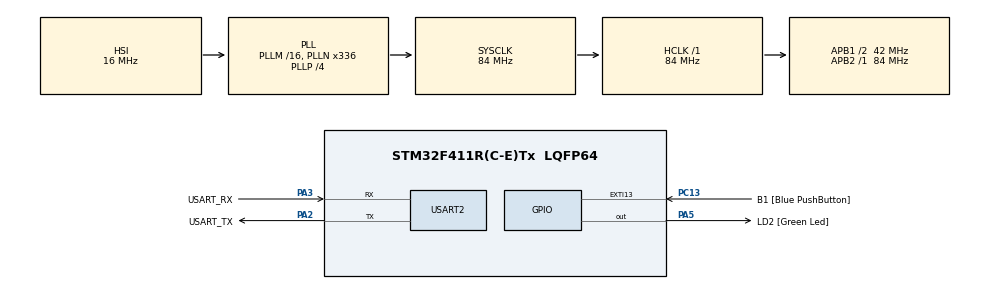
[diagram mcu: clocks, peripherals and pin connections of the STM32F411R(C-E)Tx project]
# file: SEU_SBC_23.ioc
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Mcu.Family=STM32F4
Mcu.Name=STM32F411R(C-E)Tx
Mcu.Package=LQFP64
NVIC.PriorityGroup=NVIC_PRIORITYGROUP_0
PA13.GPIO_Label=TMS
PA13.Mode=Serial_Wire
PA13.Signal=SYS_JTMS-SWDIO
PA14.GPIO_Label=TCK
PA14.Mode=Serial_Wire
PA14.Signal=SYS_JTCK-SWCLK
PA2.GPIO_Label=USART_TX
PA2.Mode=Asynchronous
PA2.Signal=USART2_TX
PA3.GPIO_Label=USART_RX
PA3.Mode=Asynchronous
PA3.Signal=USART2_RX
PA5.GPIO_Label=LD2 [Green Led]
PA5.Signal=GPIO_Output
PB3.GPIO_Label=SWO
PB3.Signal=SYS_JTDO-SWO
PC13-ANTI_TAMP.GPIO_Label=B1 [Blue PushButton]
PC13-ANTI_TAMP.GPIO_ModeDefaultEXTI=GPIO_MODE_IT_FALLING
PC13-ANTI_TAMP.Signal=GPXTI13
PC14-OSC32_IN.Mode=LSE-External-Oscillator
PC14-OSC32_IN.Signal=RCC_OSC32_IN
PC15-OSC32_OUT.Mode=LSE-External-Oscillator
PC15-OSC32_OUT.Signal=RCC_OSC32_OUT
PH0\ -\ OSC_IN.Mode=HSE-External-Clock-Source
PH0\ -\ OSC_IN.Signal=RCC_OSC_IN
PH1\ -\ OSC_OUT.Mode=HSE-External-Clock-Source
PH1\ -\ OSC_OUT.Signal=RCC_OSC_OUT
ProjectManager.HeapSize=0x200
ProjectManager.StackSize=0x400
ProjectManager.TargetToolchain=STM32CubeIDE
RCC.48MHZClocksFreq_Value=84000000
RCC.AHBFreq_Value=84000000
RCC.APB1CLKDivider=RCC_HCLK_DIV2
RCC.APB1Freq_Value=42000000
RCC.APB1TimFreq_Value=84000000
RCC.APB2Freq_Value=84000000
RCC.APB2TimFreq_Value=84000000
RCC.CortexFreq_Value=84000000
RCC.FLatency-AdvancedSettings=FLASH_LATENCY_2
RCC.HCLKFreq_Value=84000000
RCC.HSE_VALUE=8000000
RCC.HSI_VALUE=16000000
RCC.PLLN=336
RCC.PLLP=RCC_PLLP_DIV4
RCC.SYSCLKFreq_VALUE=84000000
RCC.SYSCLKSource=RCC_SYSCLKSOURCE_PLLCLK
RCC.VCOOutputFreq_Value=336000000
USART2.VirtualMode=VM_ASYNC
board=NUCLEO-F411RE

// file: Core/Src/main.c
/* USER CODE BEGIN Header */
/**
  ******************************************************************************
  * @file           : main.c
  * @brief          : Main program body
  ******************************************************************************
  * @attention
  *
  * Copyright (c) 2023 STMicroelectronics.
  * All rights reserved.
  *
  * This software is licensed under terms that can be found in the LICENSE file
  * in the root directory of this software component.
  * If no LICENSE file comes with this software, it is provided AS-IS.
  *
  ******************************************************************************
  */
/* USER CODE END Header */
#include "main.h"

/* USER CODE BEGIN Includes */

#include "stdio.h"

/* USER CODE END Includes */

UART_HandleTypeDef huart2;

void SystemClock_Config(void);
static void MX_GPIO_Init(void);
static void MX_USART2_UART_Init(void);

/* USER CODE BEGIN 0 */

int _write(int file, char *ptr, int len){
    int DataIdx;
    for (DataIdx = 0; DataIdx < len; DataIdx++){
   	//ITM_SendChar( *ptr++ );
   	HAL_UART_Transmit(&huart2, (uint8_t*)ptr++,1,1000);
    }
    return len;
}

void ejer1(void){
 int v[3]={0,0,0}, *p=1;

  printf ("\n\n\nEjer1\n\n");

  printf("1   	 v= %p ; Valores v: %d %d %d\r\n",v, v[0], v[1], v[2]);
  printf("2   	 p= %p ; Valores p: %x %x %x\r\n",p, p[0], p[1], p[2]);
  v[0]=9; v[1]=8; v[2]=7; v[3]=6;
  printf("3   	 v= %p ; Valores v: %d %d %d\r\n",v, v[0], v[1], v[2]);
  p=v;
  printf("4   	 p= %p ; Valores p: %d %d %d\r\n",p, p[0], p[1], p[2]);
}

void ejer2(void) {
	 int v[3]={0,0,0}, *p=1;

	  printf ("\n\n\nEjer2\n\n");

	  printf("1   	 v= %p ; Valores v: %d %d %d\r\n",v, v[0], v[1], v[2]);
	  printf("2   	 p= %p ; Valores p: %x %x %x\r\n",p, p[0], p[1], p[2]);
	  v[0]=9; v[1]=8; v[2]=7; v[3]=6;
	  printf("3   	 v= %p ; Valores v: %d %d %d\r\n",v, *(v+0), *(v+1), *(v+2));
	  p=v;
	  printf("4   	 p= %p ; Valores p: %d %d %d\r\n",p, *(p+0), *(p+1), *(p+2));
}

/* USER CODE END 0 */

int main(void)
{

  /* MCU Configuration--------------------------------------------------------*/

  /* Reset of all peripherals, Initializes the Flash interface and the Systick. */
  HAL_Init();

  /* Configure the system clock */
  SystemClock_Config();

  /* Initialize all configured peripherals */
  MX_GPIO_Init();
  MX_USART2_UART_Init();
  /* USER CODE BEGIN 2 */

  ejer1();
  ejer2();

  /* USER CODE END 2 */

  /* Infinite loop */
  while (1)
  {

  }
}

void SystemClock_Config(void)
{
  RCC_OscInitTypeDef RCC_OscInitStruct = {0};
  RCC_ClkInitTypeDef RCC_ClkInitStruct = {0};

  /** Configure the main internal regulator output voltage
  */
  __HAL_RCC_PWR_CLK_ENABLE();
  __HAL_PWR_VOLTAGESCALING_CONFIG(PWR_REGULATOR_VOLTAGE_SCALE1);
  /** Initializes the RCC Oscillators according to the specified parameters
  * in the RCC_OscInitTypeDef structure.
  */
  RCC_OscInitStruct.OscillatorType = RCC_OSCILLATORTYPE_HSI;
  RCC_OscInitStruct.HSIState = RCC_HSI_ON;
  RCC_OscInitStruct.HSICalibrationValue = RCC_HSICALIBRATION_DEFAULT;
  RCC_OscInitStruct.PLL.PLLState = RCC_PLL_ON;
  RCC_OscInitStruct.PLL.PLLSource = RCC_PLLSOURCE_HSI;
  RCC_OscInitStruct.PLL.PLLM = 16;
  RCC_OscInitStruct.PLL.PLLN = 336;
  RCC_OscInitStruct.PLL.PLLP = RCC_PLLP_DIV4;
  RCC_OscInitStruct.PLL.PLLQ = 4;
  if (HAL_RCC_OscConfig(&RCC_OscInitStruct) != HAL_OK)
  {
    Error_Handler();
  }
  /** Initializes the CPU, AHB and APB buses clocks
  */
  RCC_ClkInitStruct.ClockType = RCC_CLOCKTYPE_HCLK|RCC_CLOCKTYPE_SYSCLK
                              |RCC_CLOCKTYPE_PCLK1|RCC_CLOCKTYPE_PCLK2;
  RCC_ClkInitStruct.SYSCLKSource = RCC_SYSCLKSOURCE_PLLCLK;
  RCC_ClkInitStruct.AHBCLKDivider = RCC_SYSCLK_DIV1;
  RCC_ClkInitStruct.APB1CLKDivider = RCC_HCLK_DIV2;
  RCC_ClkInitStruct.APB2CLKDivider = RCC_HCLK_DIV1;

  if (HAL_RCC_ClockConfig(&RCC_ClkInitStruct, FLASH_LATENCY_2) != HAL_OK)
  {
    Error_Handler();
  }
}

static void MX_USART2_UART_Init(void)
{

  huart2.Instance = USART2;
  huart2.Init.BaudRate = 115200;
  huart2.Init.WordLength = UART_WORDLENGTH_8B;
  huart2.Init.StopBits = UART_STOPBITS_1;
  huart2.Init.Parity = UART_PARITY_NONE;
  huart2.Init.Mode = UART_MODE_TX_RX;
  huart2.Init.HwFlowCtl = UART_HWCONTROL_NONE;
  huart2.Init.OverSampling = UART_OVERSAMPLING_16;
  if (HAL_UART_Init(&huart2) != HAL_OK)
  {
    Error_Handler();
  }

}

static void MX_GPIO_Init(void)
{
  GPIO_InitTypeDef GPIO_InitStruct = {0};

  /* GPIO Ports Clock Enable */
  __HAL_RCC_GPIOC_CLK_ENABLE();
  __HAL_RCC_GPIOH_CLK_ENABLE();
  __HAL_RCC_GPIOA_CLK_ENABLE();
  __HAL_RCC_GPIOB_CLK_ENABLE();

  /*Configure GPIO pin Output Level */
  HAL_GPIO_WritePin(LD2_GPIO_Port, LD2_Pin, GPIO_PIN_RESET);

  /*Configure GPIO pin : B1_Pin */
  GPIO_InitStruct.Pin = B1_Pin;
  GPIO_InitStruct.Mode = GPIO_MODE_IT_FALLING;
  GPIO_InitStruct.Pull = GPIO_NOPULL;
  HAL_GPIO_Init(B1_GPIO_Port, &GPIO_InitStruct);

  /*Configure GPIO pin : LD2_Pin */
  GPIO_InitStruct.Pin = LD2_Pin;
  GPIO_InitStruct.Mode = GPIO_MODE_OUTPUT_PP;
  GPIO_InitStruct.Pull = GPIO_NOPULL;
  GPIO_InitStruct.Speed = GPIO_SPEED_FREQ_LOW;
  HAL_GPIO_Init(LD2_GPIO_Port, &GPIO_InitStruct);

}

void Error_Handler(void)
{
  __disable_irq();
  while (1)
  {
  }
}
